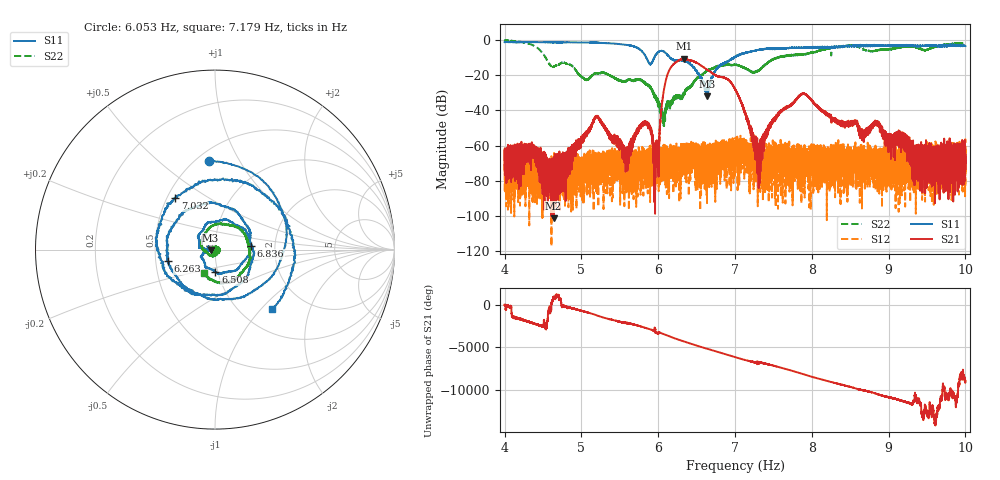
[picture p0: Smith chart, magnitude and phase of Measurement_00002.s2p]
!Created with skrf (http://scikit-rf.org).
# Hz S RI R 50.0
!freq ReS11 ImS11 ReS21 ImS21 ReS12 ImS12 ReS22 ImS22
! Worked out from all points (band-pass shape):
!   14001 points, 4 Hz to 10 Hz, reference 50 ohm
!   highest |S21| = -10.61 dB at 6.334 Hz (marker M1); lowest = -101.5 dB at 4.637 Hz (marker M2)
!   |S21| within 3 dB of the highest: 6.201 Hz to 6.53 Hz (328.2 mHz wide, 5.16 % of centre)
!   lowest |S11| = -31.9 dB at 6.641 Hz (marker M3), VSWR 1.05, Z = 47.6 - j0.388 ohm
!   |S11| at or under -10 dB: 5.846 Hz to 5.949 Hz (103.3 mHz wide, 1.75 % of centre); 6.155 Hz to 6.982 Hz (826.6 mHz wide, 12.6 % of centre); 6.9816 Hz to 6.985602 Hz (4.002 mHz wide, 0.0573 % of centre)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
!   |S22| runs from -48.9 to -0.2 dB; largest |S21 - S12| = 0.3
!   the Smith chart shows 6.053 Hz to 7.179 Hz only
!   S11 on the Smith chart (normalised r, x): 6.053 Hz: 0.57, +0.75; 6.263 Hz: 0.58, -0.08; 6.508 Hz: 0.97, -0.25; 6.836 Hz: 1.50, +0.06; 7.032 Hz: 0.55, +0.36; 7.179 Hz: 1.37, -1.16
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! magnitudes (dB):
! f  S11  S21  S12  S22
! 4 Hz  -1.1  -68.2  -85.7  -0.2
! 4.362 Hz  -1.1  -64.9  -77.5  -2.7
! 4.637 Hz  -1.2  -101.5  -71.5  -15.2
! 5 Hz  -1.3  -57.2  -76.5  -20.7
! 5.2 Hz  -1.5  -43.9  -73.2  -18.9
! 5.578 Hz  -2.6  -63.5  -65.7  -23.2
! 5.808 Hz  -7.3  -46.6  -64.5  -23.8
! 6 Hz  -6.8  -68.4  -64.1  -34.3
! 6.053 Hz  -6.1  -34.7  -64.2  -43.8
! 6.263 Hz  -11.4  -11.6  -64.0  -31.4
! 6.334 Hz  -11.7  -10.6  -66.0  -30.4
! 6.508 Hz  -17.9  -13.0  -76.0  -21.3
! 6.641 Hz  -31.9  -16.9  -60.1  -17.1
! 6.836 Hz  -13.9  -21.1  -71.7  -14.6
! 7 Hz  -9.6  -27.8  -63.2  -14.0
! 7.032 Hz  -8.9  -30.6  -60.8  -14.3
! 7.179 Hz  -6.7  -47.8  -62.4  -16.9
! 7.308 Hz  -5.6  -84.3  -67.5  -17.3
! 7.593 Hz  -4.8  -40.2  -67.7  -9.5
! 8 Hz  -4.3  -34.1  -64.1  -6.9
! 9 Hz  -3.2  -58.9  -68.6  -5.0
! 10 Hz  -3.4  -69.1  -62.1  -3.0
